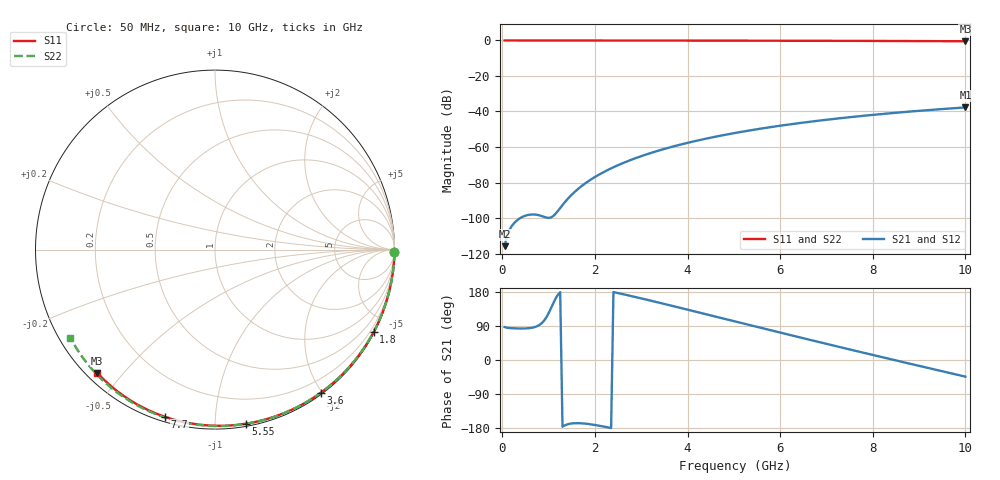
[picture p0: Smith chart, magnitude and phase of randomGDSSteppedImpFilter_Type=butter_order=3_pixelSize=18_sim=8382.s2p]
! freq	dB(S11)	phase(S11)	dB(S12)	phase(S12)
!  dB(S21)	phase(S21)	dB(S22)	phase(S22)
!S-par simulation data
#  GHz  S  DB  R 50
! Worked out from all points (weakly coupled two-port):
!   200 points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, 50 MHz to 10 GHz, reference 50 ohm
!   highest |S21| = -37.71 dB at 10 GHz (marker M1); lowest = -115.8 dB at 50 MHz (marker M2)
!   lowest |S11| = -0.4 dB at 10 GHz (marker M3), VSWR 38.68, Z = 1.53 - j21.4 ohm
!   |S11| at or under -10 dB: nowhere
!   |S22| runs from -0.5 to 0.0 dB; largest |S21 - S12| = 0
!   S11 on the Smith chart (normalised r, x): 50 MHz: open; 1.8 GHz: 0.04, -4.11; 3.6 GHz: 0.02, -1.98; 5.55 GHz: 0.02, -1.19; 7.7 GHz: 0.02, -0.74; 10 GHz: 0.03, -0.43
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0.05  -0.00 -0.8  -115.84 86.9  -115.84 86.9  -0.00 -0.9
0.45  -0.01 -6.9  -99.15 83.1  -99.15 83.1  -0.01 -7.7
0.9  -0.02 -13.8  -99.30 103.4  -99.30 103.4  -0.02 -15.3
1.3  -0.02 -19.9  -92.67 -176.0  -92.67 -176.0  -0.03 -22.1
1.75  -0.03 -26.6  -81.25 -167.5  -81.25 -167.5  -0.04 -29.5
1.8  -0.03 -27.4  -80.30 -168.1  -80.30 -168.1  -0.04 -30.4
1.85  -0.04 -28.1  -79.39 -168.8  -79.39 -168.8  -0.04 -31.2
2  -0.04 -30.3  -76.89 -171.4  -76.89 -171.4  -0.04 -33.7
2.15  -0.04 -32.6  -74.66 -174.6  -74.66 -174.6  -0.05 -36.1
2.5  -0.05 -37.7  -70.22 176.6  -70.22 176.6  -0.05 -41.8
2.9  -0.06 -43.5  -66.07 165.5  -66.07 165.5  -0.06 -48.2
3.4  -0.07 -50.7  -61.82 150.9  -61.82 150.9  -0.07 -56.1
3.6  -0.07 -53.5  -60.33 144.9  -60.33 144.9  -0.08 -59.2
4.3  -0.09 -63.2  -55.85 123.8  -55.85 123.8  -0.10 -69.9
5.05  -0.11 -73.3  -51.97 101.0  -51.97 101.0  -0.12 -81.1
5.55  -0.13 -79.9  -49.78 85.9  -49.78 85.9  -0.14 -88.3
6.1  -0.15 -87.0  -47.64 69.4  -47.64 69.4  -0.17 -96.1
6.7  -0.18 -94.5  -45.59 51.5  -45.59 51.5  -0.20 -104.4
7.7  -0.24 -106.7  -42.67 22.0  -42.67 22.0  -0.27 -117.9
8.35  -0.29 -114.5  -41.06 3.2  -41.06 3.2  -0.33 -126.6
9.2  -0.37 -124.4  -39.21 -21.2  -39.21 -21.2  -0.41 -137.9
10  -0.45 -133.7  -37.71 -43.9  -37.71 -43.9  -0.50 -148.6
